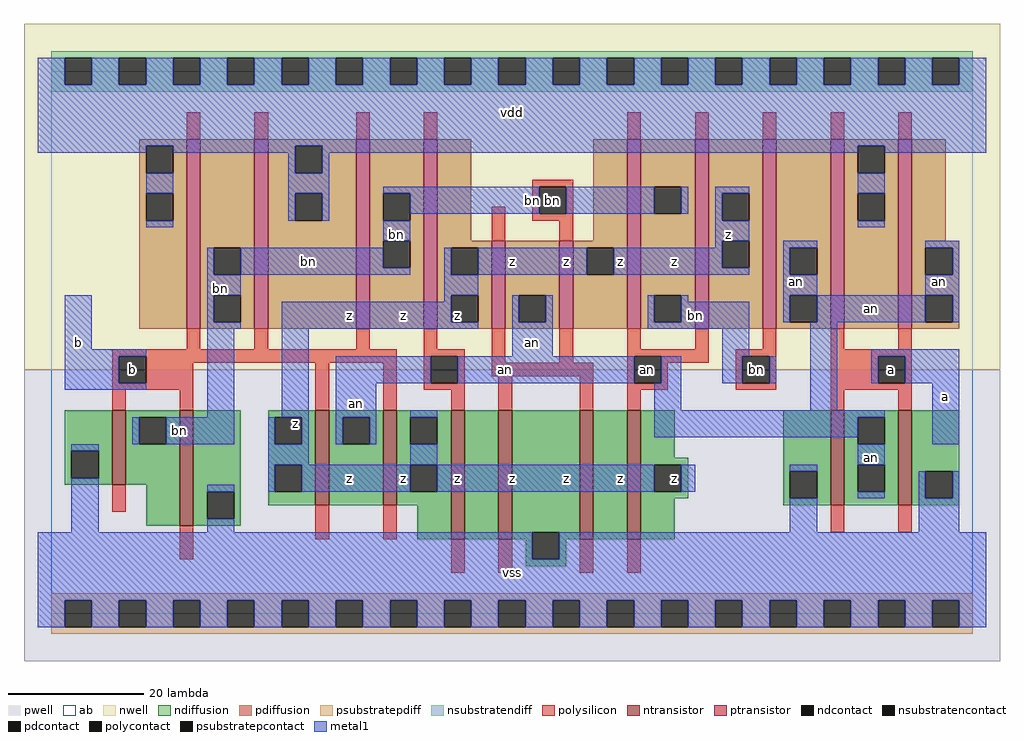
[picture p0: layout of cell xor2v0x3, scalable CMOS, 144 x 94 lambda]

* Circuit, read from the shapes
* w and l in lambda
.subckt xor2v0x3 a an b bn vdd vss z
M1 bn b vss vss nfet w=11 l=2
M2 vss b bn vss nfet w=17 l=2
M3 an b z vss nfet w=14 l=2 m=2
M4 n1 an z vss nfet w=19 l=2
M5 vss bn n1 vss nfet w=19 l=2
M6 n2 bn vss vss nfet w=19 l=2
M7 z an n2 vss nfet w=19 l=2
M8 an a vss vss nfet w=14 l=2 m=2
M9 bn b vdd vdd pfet w=28 l=2 m=3
M10 z an bn vdd pfet w=28 l=2 m=3
M11 an bn z vdd pfet w=13 l=2 m=2
M12 an bn z vdd pfet w=28 l=2
M13 vdd a an vdd pfet w=28 l=2 m=2
.ends

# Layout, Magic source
magic
tech scmos
<< ab >>
rect 0 0 136 80
<< pwell >>
rect -4 -7 140 36
<< nwell >>
rect -4 36 140 87
<< polysilicon >>
rect 20 70 22 74
rect 30 70 32 74
rect 45 70 47 74
rect 55 70 57 74
rect 85 70 87 74
rect 95 70 97 74
rect 105 70 107 74
rect 115 70 117 74
rect 125 70 127 74
rect 71 63 77 64
rect 65 55 67 60
rect 71 59 72 63
rect 76 59 77 63
rect 71 58 77 59
rect 75 55 77 58
rect 20 39 22 42
rect 30 39 32 42
rect 45 39 47 42
rect 55 39 57 42
rect 9 38 51 39
rect 9 34 10 38
rect 14 37 51 38
rect 14 34 21 37
rect 9 33 21 34
rect 9 30 11 33
rect 19 30 21 33
rect 39 30 41 37
rect 49 30 51 37
rect 55 38 61 39
rect 55 34 56 38
rect 60 34 61 38
rect 65 37 67 42
rect 75 37 77 42
rect 85 39 87 42
rect 95 39 97 42
rect 105 39 107 42
rect 85 38 97 39
rect 65 35 80 37
rect 55 33 61 34
rect 59 30 61 33
rect 66 30 68 35
rect 78 30 80 35
rect 85 34 86 38
rect 90 37 97 38
rect 101 38 107 39
rect 90 34 91 37
rect 85 33 91 34
rect 101 34 102 38
rect 106 34 107 38
rect 101 33 107 34
rect 115 39 117 42
rect 125 39 127 42
rect 115 38 127 39
rect 115 34 122 38
rect 126 34 127 38
rect 115 33 127 34
rect 85 30 87 33
rect 115 30 117 33
rect 125 30 127 33
rect 9 15 11 19
rect 19 8 21 13
rect 39 11 41 16
rect 49 11 51 16
rect 59 6 61 11
rect 66 6 68 11
rect 115 12 117 16
rect 125 12 127 16
rect 78 6 80 11
rect 85 6 87 11
<< ndiffusion >>
rect 2 24 9 30
rect 2 20 3 24
rect 7 20 9 24
rect 2 19 9 20
rect 11 29 19 30
rect 11 25 13 29
rect 17 25 19 29
rect 11 19 19 25
rect 14 13 19 19
rect 21 18 28 30
rect 21 14 23 18
rect 27 14 28 18
rect 32 29 39 30
rect 32 25 33 29
rect 37 25 39 29
rect 32 22 39 25
rect 32 18 33 22
rect 37 18 39 22
rect 32 16 39 18
rect 41 29 49 30
rect 41 25 43 29
rect 47 25 49 29
rect 41 16 49 25
rect 51 29 59 30
rect 51 25 53 29
rect 57 25 59 29
rect 51 22 59 25
rect 51 18 53 22
rect 57 18 59 22
rect 51 16 59 18
rect 21 13 28 14
rect 54 11 59 16
rect 61 11 66 30
rect 68 12 78 30
rect 68 11 71 12
rect 70 8 71 11
rect 75 11 78 12
rect 80 11 85 30
rect 87 23 92 30
rect 87 22 94 23
rect 87 18 89 22
rect 93 18 94 22
rect 87 17 94 18
rect 108 21 115 30
rect 108 17 109 21
rect 113 17 115 21
rect 87 11 92 17
rect 108 16 115 17
rect 117 29 125 30
rect 117 25 119 29
rect 123 25 125 29
rect 117 22 125 25
rect 117 18 119 22
rect 123 18 125 22
rect 117 16 125 18
rect 127 21 134 30
rect 127 17 129 21
rect 133 17 134 21
rect 127 16 134 17
rect 75 8 76 11
rect 70 7 76 8
<< pdiffusion >>
rect 13 69 20 70
rect 13 65 14 69
rect 18 65 20 69
rect 13 62 20 65
rect 13 58 14 62
rect 18 58 20 62
rect 13 42 20 58
rect 22 54 30 70
rect 22 50 24 54
rect 28 50 30 54
rect 22 47 30 50
rect 22 43 24 47
rect 28 43 30 47
rect 22 42 30 43
rect 32 69 45 70
rect 32 65 36 69
rect 40 65 45 69
rect 32 62 45 65
rect 32 58 36 62
rect 40 58 45 62
rect 32 42 45 58
rect 47 62 55 70
rect 47 58 49 62
rect 53 58 55 62
rect 47 55 55 58
rect 47 51 49 55
rect 53 51 55 55
rect 47 42 55 51
rect 57 55 62 70
rect 80 55 85 70
rect 57 54 65 55
rect 57 50 59 54
rect 63 50 65 54
rect 57 47 65 50
rect 57 43 59 47
rect 63 43 65 47
rect 57 42 65 43
rect 67 47 75 55
rect 67 43 69 47
rect 73 43 75 47
rect 67 42 75 43
rect 77 54 85 55
rect 77 50 79 54
rect 83 50 85 54
rect 77 42 85 50
rect 87 63 95 70
rect 87 59 89 63
rect 93 59 95 63
rect 87 47 95 59
rect 87 43 89 47
rect 93 43 95 47
rect 87 42 95 43
rect 97 62 105 70
rect 97 58 99 62
rect 103 58 105 62
rect 97 55 105 58
rect 97 51 99 55
rect 103 51 105 55
rect 97 42 105 51
rect 107 54 115 70
rect 107 50 109 54
rect 113 50 115 54
rect 107 47 115 50
rect 107 43 109 47
rect 113 43 115 47
rect 107 42 115 43
rect 117 69 125 70
rect 117 65 119 69
rect 123 65 125 69
rect 117 62 125 65
rect 117 58 119 62
rect 123 58 125 62
rect 117 42 125 58
rect 127 55 132 70
rect 127 54 134 55
rect 127 50 129 54
rect 133 50 134 54
rect 127 47 134 50
rect 127 43 129 47
rect 133 43 134 47
rect 127 42 134 43
<< metal1 >>
rect -2 78 2 82
rect 6 78 10 82
rect 14 78 18 82
rect 22 78 26 82
rect 30 78 34 82
rect 38 78 42 82
rect 46 78 50 82
rect 54 78 58 82
rect 62 78 66 82
rect 70 78 74 82
rect 78 78 82 82
rect 86 78 90 82
rect 94 78 98 82
rect 102 78 106 82
rect 110 78 114 82
rect 118 78 122 82
rect 126 78 130 82
rect 134 78 138 82
rect -2 69 138 78
rect -2 68 14 69
rect 18 68 36 69
rect 14 62 18 65
rect 35 65 36 68
rect 40 68 119 69
rect 40 65 41 68
rect 35 62 41 65
rect 123 68 138 69
rect 35 58 36 62
rect 40 58 41 62
rect 49 62 72 63
rect 53 59 72 62
rect 76 59 89 63
rect 93 59 94 63
rect 98 62 103 63
rect 14 57 18 58
rect 49 55 53 58
rect 23 50 24 54
rect 28 51 49 54
rect 98 58 99 62
rect 98 55 103 58
rect 119 62 123 65
rect 119 57 123 58
rect 98 54 99 55
rect 28 50 53 51
rect 58 50 59 54
rect 63 50 79 54
rect 83 51 99 54
rect 83 50 103 51
rect 108 54 113 55
rect 108 50 109 54
rect 23 47 28 50
rect 2 39 6 47
rect 23 43 24 47
rect 58 47 63 50
rect 108 47 113 50
rect 129 54 134 55
rect 133 50 134 54
rect 129 47 134 50
rect 58 46 59 47
rect 23 42 28 43
rect 34 43 59 46
rect 34 42 63 43
rect 68 43 69 47
rect 73 43 74 47
rect 2 38 14 39
rect 2 34 10 38
rect 2 33 14 34
rect 23 29 27 42
rect 34 29 38 42
rect 68 38 74 43
rect 88 43 89 47
rect 93 46 94 47
rect 93 43 103 46
rect 108 43 109 47
rect 113 43 129 47
rect 133 43 134 47
rect 88 42 103 43
rect 99 38 103 42
rect 12 25 13 29
rect 17 25 27 29
rect 32 25 33 29
rect 37 25 38 29
rect 42 34 56 38
rect 60 34 86 38
rect 90 34 93 38
rect 99 34 102 38
rect 106 34 107 38
rect 42 29 48 34
rect 89 30 93 34
rect 112 30 116 43
rect 121 38 134 39
rect 121 34 122 38
rect 126 34 134 38
rect 42 25 43 29
rect 47 25 48 29
rect 53 29 57 30
rect 89 29 123 30
rect 89 26 119 29
rect 3 24 7 25
rect 3 12 7 20
rect 32 22 38 25
rect 53 22 57 25
rect 130 25 134 34
rect 119 22 123 25
rect 23 18 27 19
rect 32 18 33 22
rect 37 18 53 22
rect 57 18 89 22
rect 93 18 95 22
rect 109 21 113 22
rect 23 12 27 14
rect 119 17 123 18
rect 128 17 129 21
rect 133 17 134 21
rect 109 12 113 17
rect 128 12 134 17
rect -2 8 71 12
rect 75 8 138 12
rect -2 2 138 8
rect -2 -2 2 2
rect 6 -2 10 2
rect 14 -2 18 2
rect 22 -2 26 2
rect 30 -2 34 2
rect 38 -2 42 2
rect 46 -2 50 2
rect 54 -2 58 2
rect 62 -2 66 2
rect 70 -2 74 2
rect 78 -2 82 2
rect 86 -2 90 2
rect 94 -2 98 2
rect 102 -2 106 2
rect 110 -2 114 2
rect 118 -2 122 2
rect 126 -2 130 2
rect 134 -2 138 2
<< ntransistor >>
rect 9 19 11 30
rect 19 13 21 30
rect 39 16 41 30
rect 49 16 51 30
rect 59 11 61 30
rect 66 11 68 30
rect 78 11 80 30
rect 85 11 87 30
rect 115 16 117 30
rect 125 16 127 30
<< ptransistor >>
rect 20 42 22 70
rect 30 42 32 70
rect 45 42 47 70
rect 55 42 57 70
rect 65 42 67 55
rect 75 42 77 55
rect 85 42 87 70
rect 95 42 97 70
rect 105 42 107 70
rect 115 42 117 70
rect 125 42 127 70
<< polycontact >>
rect 72 59 76 63
rect 10 34 14 38
rect 56 34 60 38
rect 86 34 90 38
rect 102 34 106 38
rect 122 34 126 38
<< ndcontact >>
rect 3 20 7 24
rect 13 25 17 29
rect 23 14 27 18
rect 33 25 37 29
rect 33 18 37 22
rect 43 25 47 29
rect 53 25 57 29
rect 53 18 57 22
rect 71 8 75 12
rect 89 18 93 22
rect 109 17 113 21
rect 119 25 123 29
rect 119 18 123 22
rect 129 17 133 21
<< pdcontact >>
rect 14 65 18 69
rect 14 58 18 62
rect 24 50 28 54
rect 24 43 28 47
rect 36 65 40 69
rect 36 58 40 62
rect 49 58 53 62
rect 49 51 53 55
rect 59 50 63 54
rect 59 43 63 47
rect 69 43 73 47
rect 79 50 83 54
rect 89 59 93 63
rect 89 43 93 47
rect 99 58 103 62
rect 99 51 103 55
rect 109 50 113 54
rect 109 43 113 47
rect 119 65 123 69
rect 119 58 123 62
rect 129 50 133 54
rect 129 43 133 47
<< psubstratepcontact >>
rect 2 -2 6 2
rect 10 -2 14 2
rect 18 -2 22 2
rect 26 -2 30 2
rect 34 -2 38 2
rect 42 -2 46 2
rect 50 -2 54 2
rect 58 -2 62 2
rect 66 -2 70 2
rect 74 -2 78 2
rect 82 -2 86 2
rect 90 -2 94 2
rect 98 -2 102 2
rect 106 -2 110 2
rect 114 -2 118 2
rect 122 -2 126 2
rect 130 -2 134 2
<< nsubstratencontact >>
rect 2 78 6 82
rect 10 78 14 82
rect 18 78 22 82
rect 26 78 30 82
rect 34 78 38 82
rect 42 78 46 82
rect 50 78 54 82
rect 58 78 62 82
rect 66 78 70 82
rect 74 78 78 82
rect 82 78 86 82
rect 90 78 94 82
rect 98 78 102 82
rect 106 78 110 82
rect 114 78 118 82
rect 122 78 126 82
rect 130 78 134 82
<< psubstratepdiff >>
rect 0 2 136 3
rect 0 -2 2 2
rect 6 -2 10 2
rect 14 -2 18 2
rect 22 -2 26 2
rect 30 -2 34 2
rect 38 -2 42 2
rect 46 -2 50 2
rect 54 -2 58 2
rect 62 -2 66 2
rect 70 -2 74 2
rect 78 -2 82 2
rect 86 -2 90 2
rect 94 -2 98 2
rect 102 -2 106 2
rect 110 -2 114 2
rect 118 -2 122 2
rect 126 -2 130 2
rect 134 -2 136 2
rect 0 -3 136 -2
<< nsubstratendiff >>
rect 0 82 136 83
rect 0 78 2 82
rect 6 78 10 82
rect 14 78 18 82
rect 22 78 26 82
rect 30 78 34 82
rect 38 78 42 82
rect 46 78 50 82
rect 54 78 58 82
rect 62 78 66 82
rect 70 78 74 82
rect 78 78 82 82
rect 86 78 90 82
rect 94 78 98 82
rect 102 78 106 82
rect 110 78 114 82
rect 118 78 122 82
rect 126 78 130 82
rect 134 78 136 82
rect 0 77 136 78
<< labels >>
rlabel polycontact 88 36 88 36 6 an
rlabel polycontact 74 61 74 61 6 bn
rlabel polycontact 104 36 104 36 6 bn
rlabel metal1 4 40 4 40 6 b
rlabel polycontact 12 36 12 36 6 b
rlabel metal1 19 27 19 27 6 bn
rlabel ndcontact 36 28 36 28 6 z
rlabel metal1 44 20 44 20 6 z
rlabel metal1 45 31 45 31 6 an
rlabel metal1 44 44 44 44 6 z
rlabel metal1 51 56 51 56 6 bn
rlabel metal1 38 52 38 52 6 bn
rlabel metal1 25 48 25 48 6 bn
rlabel metal1 68 6 68 6 6 vss
rlabel metal1 52 20 52 20 6 z
rlabel metal1 76 20 76 20 6 z
rlabel metal1 68 20 68 20 6 z
rlabel metal1 60 20 60 20 6 z
rlabel metal1 52 44 52 44 6 z
rlabel metal1 71 40 71 40 6 an
rlabel pdcontact 60 44 60 44 6 z
rlabel metal1 76 52 76 52 6 z
rlabel metal1 68 52 68 52 6 z
rlabel metal1 68 74 68 74 6 vdd
rlabel metal1 84 20 84 20 6 z
rlabel ndcontact 92 20 92 20 6 z
rlabel metal1 67 36 67 36 6 an
rlabel metal1 95 44 95 44 6 bn
rlabel polycontact 103 36 103 36 6 bn
rlabel metal1 92 52 92 52 6 z
rlabel metal1 84 52 84 52 6 z
rlabel metal1 71 61 71 61 6 bn
rlabel metal1 100 56 100 56 6 z
rlabel metal1 121 23 121 23 6 an
rlabel metal1 132 32 132 32 6 a
rlabel metal1 121 45 121 45 6 an
rlabel polycontact 124 36 124 36 6 a
rlabel metal1 131 49 131 49 6 an
rlabel metal1 110 49 110 49 6 an
<< end >>
